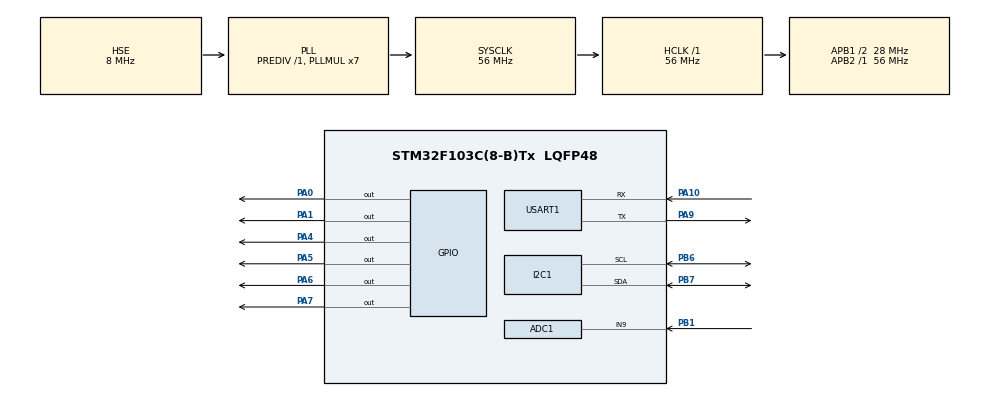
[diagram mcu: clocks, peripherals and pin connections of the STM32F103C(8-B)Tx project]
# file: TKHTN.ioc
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ADC1.Channel-0\#ChannelRegularConversion=ADC_CHANNEL_9
ADC1.NbrOfConversionFlag=1
ADC1.Rank-0\#ChannelRegularConversion=1
ADC1.SamplingTime-0\#ChannelRegularConversion=ADC_SAMPLETIME_1CYCLE_5
ADC1.master=1
FREERTOS.Queues01=Queue_Sensor_Data,16,uint16_t,0,Dynamic,NULL,NULL
FREERTOS.Tasks01=Task01,24,128,StartTask01,Default,NULL,Dynamic,NULL,NULL;Task02,24,128,StartTask02,Default,NULL,Dynamic,NULL,NULL;Task03,24,128,StartTask03,Default,NULL,Dynamic,NULL,NULL;Task04,24,128,StartTask04,Default,NULL,Dynamic,NULL,NULL
Mcu.Family=STM32F1
Mcu.Name=STM32F103C(8-B)Tx
Mcu.Package=LQFP48
NVIC.PriorityGroup=NVIC_PRIORITYGROUP_4
NVIC.TIM4_IRQn=true\:0\:0\:false\:false\:true\:false\:false\:true
NVIC.TimeBase=TIM4_IRQn
NVIC.TimeBaseIP=TIM4
NVIC.USART1_IRQn=true\:0\:0\:false\:false\:true\:false\:true\:true
PA0-WKUP.Signal=GPIO_Output
PA1.Signal=GPIO_Output
PA10.Mode=Asynchronous
PA10.Signal=USART1_RX
PA13.Mode=Serial_Wire
PA13.Signal=SYS_JTMS-SWDIO
PA14.Mode=Serial_Wire
PA14.Signal=SYS_JTCK-SWCLK
PA4.Signal=GPIO_Output
PA5.Signal=GPIO_Output
PA6.Signal=GPIO_Output
PA7.Signal=GPIO_Output
PA9.Mode=Asynchronous
PA9.Signal=USART1_TX
PB1.Signal=ADCx_IN9
PB6.Mode=I2C
PB6.Signal=I2C1_SCL
PB7.Mode=I2C
PB7.Signal=I2C1_SDA
PD0-OSC_IN.Mode=HSE-External-Oscillator
PD0-OSC_IN.Signal=RCC_OSC_IN
PD1-OSC_OUT.Mode=HSE-External-Oscillator
PD1-OSC_OUT.Signal=RCC_OSC_OUT
ProjectManager.HeapSize=0x200
ProjectManager.StackSize=0x400
ProjectManager.TargetToolchain=MDK-ARM V5.27
RCC.ADCPresc=RCC_ADCPCLK2_DIV4
RCC.AHBFreq_Value=56000000
RCC.APB1CLKDivider=RCC_HCLK_DIV2
RCC.APB1Freq_Value=28000000
RCC.APB1TimFreq_Value=56000000
RCC.APB2Freq_Value=56000000
RCC.APB2TimFreq_Value=56000000
RCC.HCLKFreq_Value=56000000
RCC.PLLMUL=RCC_PLL_MUL7
RCC.PLLSourceVirtual=RCC_PLLSOURCE_HSE
RCC.SYSCLKFreq_VALUE=56000000
RCC.SYSCLKSource=RCC_SYSCLKSOURCE_PLLCLK
RCC.USBFreq_Value=56000000
SH.ADCx_IN9.0=ADC1_IN9,IN9
USART1.VirtualMode=VM_ASYNC
VP_FREERTOS_VS_CMSIS_V2.Mode=CMSIS_V2
VP_SYS_VS_tim4.Mode=TIM4
board=custom

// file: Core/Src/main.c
/* USER CODE BEGIN Header */
/**
  ******************************************************************************
  * @file           : main.c
  * @brief          : Main program body
  ******************************************************************************
  * @attention
  *
  * <h2><center>&copy; Copyright (c) 2026 STMicroelectronics.
  * All rights reserved.</center></h2>
  *
  * This software component is licensed by ST under BSD 3-Clause license,
  * the "License"; You may not use this file except in compliance with the
  * License. You may obtain a copy of the License at:
  *                        opensource.org/licenses/BSD-3-Clause
  *
  ******************************************************************************
  */
/* USER CODE END Header */
#include "main.h"
#include "cmsis_os.h"

/* USER CODE BEGIN Includes */
#include <stdio.h>
#include <string.h>
#include <stdarg.h>
#include <stdlib.h>
#include "LCD.h"
#include "SHT31.h"
#include "Soil_Moisture.h"
/* USER CODE END Includes */

ADC_HandleTypeDef hadc1;

I2C_HandleTypeDef hi2c1;

UART_HandleTypeDef huart1;

/* Definitions for Task01 */
osThreadId_t Task01Handle;
const osThreadAttr_t Task01_attributes = {
  .name = "Task01",
  .priority = (osPriority_t) osPriorityNormal,
  .stack_size = 128 * 4
};
/* Definitions for Task02 */
osThreadId_t Task02Handle;
const osThreadAttr_t Task02_attributes = {
  .name = "Task02",
  .priority = (osPriority_t) osPriorityNormal,
  .stack_size = 128 * 4
};
/* Definitions for Task03 */
osThreadId_t Task03Handle;
const osThreadAttr_t Task03_attributes = {
  .name = "Task03",
  .priority = (osPriority_t) osPriorityNormal,
  .stack_size = 128 * 4
};
/* Definitions for Task04 */
osThreadId_t Task04Handle;
const osThreadAttr_t Task04_attributes = {
  .name = "Task04",
  .priority = (osPriority_t) osPriorityNormal,
  .stack_size = 128 * 4
};
/* Definitions for Queue_Sensor_Data */
osMessageQueueId_t Queue_Sensor_DataHandle;
const osMessageQueueAttr_t Queue_Sensor_Data_attributes = {
  .name = "Queue_Sensor_Data"
};
/* USER CODE BEGIN PV */
// Period

volatile uint32_t SHT31_Period = 500;
volatile uint32_t SM_Period = 1000;
volatile uint32_t DisplayLCD_Period	= 2000;
volatile uint32_t UART_Period	= 1000;

/* USER CODE END PV */

void SystemClock_Config(void);
static void MX_GPIO_Init(void);
static void MX_ADC1_Init(void);
static void MX_I2C1_Init(void);
static void MX_USART1_UART_Init(void);
void StartTask01(void *argument);
void StartTask02(void *argument);
void StartTask03(void *argument);
void StartTask04(void *argument);

/* USER CODE BEGIN 0 */
// Transmit UART
char buff[128];
void Debug_Log(const char *format,...){
	va_list args ;
	va_start(args,format);
	vsnprintf(buff,sizeof(buff),format,args);
	va_end(args);
	// UART
	HAL_UART_Transmit(&huart1,(uint8_t *)buff,strlen(buff),100);
}
// Receive UART
uint8_t rx_byte;
uint8_t rx_buffer[20];
uint8_t rx_index = 0;
void Process_Command(char *cmd) {
    int value = 0;
    char *ptr = NULL;
    if ((ptr = strstr(cmd, "SHT31:")) != NULL) {
        value = atoi(ptr + 6);
        if (value > 0) SHT31_Period = value;
        Debug_Log("\nSHT31 Period: %d\n", SHT31_Period);
    }
    else if ((ptr = strstr(cmd, "SM:")) != NULL) {
        value = atoi(ptr + 3);
        if (value > 0) SM_Period = value;
        Debug_Log("\nSM Period: %d\n", SM_Period);
    }
    else if ((ptr = strstr(cmd, "LCD:")) != NULL) {
        value = atoi(ptr + 4);
        if (value > 0) DisplayLCD_Period = value;
        Debug_Log("\nLCD Period: %d\n", DisplayLCD_Period);
    }
    else if ((ptr = strstr(cmd, "UART:")) != NULL) {
        value = atoi(ptr + 5);
        if (value > 0) UART_Period = value;
        Debug_Log("\nUART Period: %d\n", UART_Period);
    }
}
void HAL_UART_RxCpltCallback(UART_HandleTypeDef *huart) {
    if (huart->Instance == USART1) {
        if (rx_byte != '\n' && rx_index < sizeof(rx_buffer) - 1) {
            rx_buffer[rx_index++] = rx_byte;
        }
        else {
            rx_buffer[rx_index] = '\0';
            Process_Command((char *)rx_buffer);
            rx_index = 0;
        }
        HAL_UART_Receive_IT(&huart1, &rx_byte, 1);
    }
}
typedef struct{
	float Temp;
	float Humi;
	uint16_t Sm;
} Sensor_Data_t;
float temp ;
float humi;
uint16_t raw_val_adc;
uint8_t percenttage;
uint8_t LCD_SHT31[40];
void StartTask01(void *argument)
{
	sht31_init();
	uint32_t tick = osKernelGetTickCount();
  for(;;)
  {
		sht31_single_shot(&temp,&humi);

		tick += SHT31_Period;
    osDelayUntil(tick);
  }
}
void StartTask02(void *argument)
{
  /* USER CODE BEGIN StartTask02 */
	uint32_t tick = osKernelGetTickCount();
  /* Infinite loop */
  for(;;)
  {
		percenttage = Read_Percen_SM();

		tick += SM_Period;
    osDelayUntil(tick);
  }
  /* USER CODE END StartTask02 */
}
void StartTask03(void *argument)
{
  /* USER CODE BEGIN StartTask03 */
	LCD_Init();
	uint32_t tick = osKernelGetTickCount();
  /* Infinite loop */
  for(;;)
  {
		LCD_SendCommand(0x01);
		LCD_Gotoxy(0,0);
		sprintf((char *)LCD_SHT31,"Temp:%.1f C",temp);
		LCD_Puts((char *)LCD_SHT31);
		LCD_Gotoxy(0,1);
		sprintf((char *)LCD_SHT31,"Hum:%.1f%%",humi);
		LCD_Puts((char *)LCD_SHT31);
		LCD_Gotoxy(10,1);
		sprintf((char *)LCD_SHT31,"SM:%d%%",percenttage);
		LCD_Puts((char *)LCD_SHT31);

		tick += DisplayLCD_Period;
    osDelayUntil(tick);
  }
  /* USER CODE END StartTask03 */
}
void StartTask04(void *argument)
{
  /* USER CODE BEGIN StartTask04 */
		uint32_t tick = osKernelGetTickCount();
  /* Infinite loop */
  for(;;)
  {
		Debug_Log("Temp: %.2f C, Humi: %.2f%%, ",temp,humi );
		Debug_Log("SM: %d%% \n",percenttage);

		tick += UART_Period;
    osDelayUntil(tick);
  }
  /* USER CODE END StartTask04 */
}
/* USER CODE END 0 */

int main(void)
{

  /* MCU Configuration--------------------------------------------------------*/

  /* Reset of all peripherals, Initializes the Flash interface and the Systick. */
  HAL_Init();

  /* Configure the system clock */
  SystemClock_Config();

  /* Initialize all configured peripherals */
  MX_GPIO_Init();
  MX_ADC1_Init();
  MX_I2C1_Init();
  MX_USART1_UART_Init();
  /* USER CODE BEGIN 2 */
	HAL_UART_Receive_IT(&huart1, &rx_byte, 1);
  /* USER CODE END 2 */

  /* Init scheduler */
  osKernelInitialize();

  /* Create the queue(s) */
  /* creation of Queue_Sensor_Data */
  Queue_Sensor_DataHandle = osMessageQueueNew (16, sizeof(Sensor_Data_t), &Queue_Sensor_Data_attributes);

  /* Create the thread(s) */
  /* creation of Task01 */
  Task01Handle = osThreadNew(StartTask01, NULL, &Task01_attributes);

  /* creation of Task02 */
  Task02Handle = osThreadNew(StartTask02, NULL, &Task02_attributes);

  /* creation of Task03 */
  Task03Handle = osThreadNew(StartTask03, NULL, &Task03_attributes);

  /* creation of Task04 */
  Task04Handle = osThreadNew(StartTask04, NULL, &Task04_attributes);

  /* Start scheduler */
  osKernelStart();

  /* We should never get here as control is now taken by the scheduler */
  /* Infinite loop */
  while (1)
  {

  }
}

void SystemClock_Config(void)
{
  RCC_OscInitTypeDef RCC_OscInitStruct = {0};
  RCC_ClkInitTypeDef RCC_ClkInitStruct = {0};
  RCC_PeriphCLKInitTypeDef PeriphClkInit = {0};

  /** Initializes the RCC Oscillators according to the specified parameters
  * in the RCC_OscInitTypeDef structure.
  */
  RCC_OscInitStruct.OscillatorType = RCC_OSCILLATORTYPE_HSE;
  RCC_OscInitStruct.HSEState = RCC_HSE_ON;
  RCC_OscInitStruct.HSEPredivValue = RCC_HSE_PREDIV_DIV1;
  RCC_OscInitStruct.HSIState = RCC_HSI_ON;
  RCC_OscInitStruct.PLL.PLLState = RCC_PLL_ON;
  RCC_OscInitStruct.PLL.PLLSource = RCC_PLLSOURCE_HSE;
  RCC_OscInitStruct.PLL.PLLMUL = RCC_PLL_MUL7;
  if (HAL_RCC_OscConfig(&RCC_OscInitStruct) != HAL_OK)
  {
    Error_Handler();
  }
  /** Initializes the CPU, AHB and APB buses clocks
  */
  RCC_ClkInitStruct.ClockType = RCC_CLOCKTYPE_HCLK|RCC_CLOCKTYPE_SYSCLK
                              |RCC_CLOCKTYPE_PCLK1|RCC_CLOCKTYPE_PCLK2;
  RCC_ClkInitStruct.SYSCLKSource = RCC_SYSCLKSOURCE_PLLCLK;
  RCC_ClkInitStruct.AHBCLKDivider = RCC_SYSCLK_DIV1;
  RCC_ClkInitStruct.APB1CLKDivider = RCC_HCLK_DIV2;
  RCC_ClkInitStruct.APB2CLKDivider = RCC_HCLK_DIV1;

  if (HAL_RCC_ClockConfig(&RCC_ClkInitStruct, FLASH_LATENCY_2) != HAL_OK)
  {
    Error_Handler();
  }
  PeriphClkInit.PeriphClockSelection = RCC_PERIPHCLK_ADC;
  PeriphClkInit.AdcClockSelection = RCC_ADCPCLK2_DIV4;
  if (HAL_RCCEx_PeriphCLKConfig(&PeriphClkInit) != HAL_OK)
  {
    Error_Handler();
  }
}

static void MX_ADC1_Init(void)
{

  ADC_ChannelConfTypeDef sConfig = {0};

  /** Common config
  */
  hadc1.Instance = ADC1;
  hadc1.Init.ScanConvMode = ADC_SCAN_DISABLE;
  hadc1.Init.ContinuousConvMode = DISABLE;
  hadc1.Init.DiscontinuousConvMode = DISABLE;
  hadc1.Init.ExternalTrigConv = ADC_SOFTWARE_START;
  hadc1.Init.DataAlign = ADC_DATAALIGN_RIGHT;
  hadc1.Init.NbrOfConversion = 1;
  if (HAL_ADC_Init(&hadc1) != HAL_OK)
  {
    Error_Handler();
  }
  /** Configure Regular Channel
  */
  sConfig.Channel = ADC_CHANNEL_9;
  sConfig.Rank = ADC_REGULAR_RANK_1;
  sConfig.SamplingTime = ADC_SAMPLETIME_1CYCLE_5;
  if (HAL_ADC_ConfigChannel(&hadc1, &sConfig) != HAL_OK)
  {
    Error_Handler();
  }

}

static void MX_I2C1_Init(void)
{

  hi2c1.Instance = I2C1;
  hi2c1.Init.ClockSpeed = 100000;
  hi2c1.Init.DutyCycle = I2C_DUTYCYCLE_2;
  hi2c1.Init.OwnAddress1 = 0;
  hi2c1.Init.AddressingMode = I2C_ADDRESSINGMODE_7BIT;
  hi2c1.Init.DualAddressMode = I2C_DUALADDRESS_DISABLE;
  hi2c1.Init.OwnAddress2 = 0;
  hi2c1.Init.GeneralCallMode = I2C_GENERALCALL_DISABLE;
  hi2c1.Init.NoStretchMode = I2C_NOSTRETCH_DISABLE;
  if (HAL_I2C_Init(&hi2c1) != HAL_OK)
  {
    Error_Handler();
  }

}

static void MX_USART1_UART_Init(void)
{

  huart1.Instance = USART1;
  huart1.Init.BaudRate = 115200;
  huart1.Init.WordLength = UART_WORDLENGTH_8B;
  huart1.Init.StopBits = UART_STOPBITS_1;
  huart1.Init.Parity = UART_PARITY_NONE;
  huart1.Init.Mode = UART_MODE_TX_RX;
  huart1.Init.HwFlowCtl = UART_HWCONTROL_NONE;
  huart1.Init.OverSampling = UART_OVERSAMPLING_16;
  if (HAL_UART_Init(&huart1) != HAL_OK)
  {
    Error_Handler();
  }

}

static void MX_GPIO_Init(void)
{
  GPIO_InitTypeDef GPIO_InitStruct = {0};

  /* GPIO Ports Clock Enable */
  __HAL_RCC_GPIOD_CLK_ENABLE();
  __HAL_RCC_GPIOA_CLK_ENABLE();
  __HAL_RCC_GPIOB_CLK_ENABLE();

  /*Configure GPIO pin Output Level */
  HAL_GPIO_WritePin(GPIOA, GPIO_PIN_0|GPIO_PIN_1|GPIO_PIN_4|GPIO_PIN_5
                          |GPIO_PIN_6|GPIO_PIN_7, GPIO_PIN_RESET);

  /*Configure GPIO pins : PA0 PA1 PA4 PA5
                           PA6 PA7 */
  GPIO_InitStruct.Pin = GPIO_PIN_0|GPIO_PIN_1|GPIO_PIN_4|GPIO_PIN_5
                          |GPIO_PIN_6|GPIO_PIN_7;
  GPIO_InitStruct.Mode = GPIO_MODE_OUTPUT_PP;
  GPIO_InitStruct.Pull = GPIO_NOPULL;
  GPIO_InitStruct.Speed = GPIO_SPEED_FREQ_LOW;
  HAL_GPIO_Init(GPIOA, &GPIO_InitStruct);

}

/* USER CODE BEGIN Header_StartTask04 */

void HAL_TIM_PeriodElapsedCallback(TIM_HandleTypeDef *htim)
{
  if (htim->Instance == TIM4) {
    HAL_IncTick();
  }
}

void Error_Handler(void)
{
}

/************************ (C) COPYRIGHT STMicroelectronics *****END OF FILE****/
